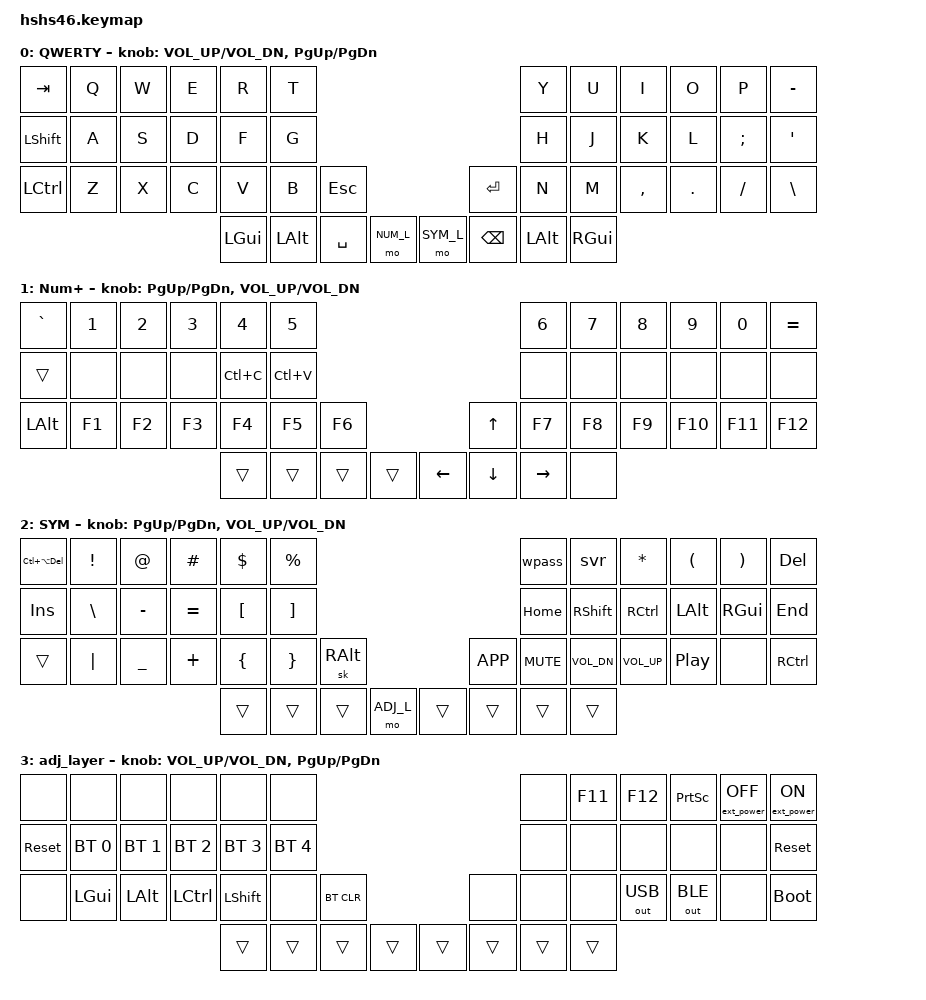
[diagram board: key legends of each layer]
/*
 * Copyright (c) 2021-2022 The ZMK Contributors
 *
 * SPDX-License-Identifier: MIT
 */

#include <behaviors.dtsi>
#include <dt-bindings/zmk/bt.h>
#include <dt-bindings/zmk/ext_power.h>
#include <dt-bindings/zmk/keys.h>
#include <dt-bindings/zmk/outputs.h>

#define QWERTY_L 0
#define NUM_L    1
#define SYM_L    2
#define ADJ_L    3

#define Undo   LC(Z)
#define Cut    LC(X)
#define Copy   LC(C)
#define Paste  LC(V)
#define Redo   LC(Y)
#define CAD    LC(LA(DEL))


/ {
    macros {
     wpass: wpass_macro {
        label = "wpass";
        compatible = "zmk,behavior-macro";
         #binding-cells = <0>;
         bindings = <
         &macro_tap
            &kp MINUS &kp LS(W) &kp A &kp N &kp D &kp N8 
            &kp MINUS &kp LS(C) &kp L &kp U &kp N &kp K &kp Y 
            &kp MINUS &kp LS(S) &kp A &kp N &kp D &kp S &kp T &kp O &kp R &kp M
            &kp RET
            >;
        };
        svr: svr_macro {
            label = "svr";
            compatible = "zmk,behavior-macro";
            #binding-cells = <0>;
            bindings = <
            &macro_tap
                &kp T &kp LS(A) &kp N0 &kp LS(N6) &kp N4 &kp K &kp T &kp LS(Y) &kp K &kp N1 &kp N1 &kp LS(L) &kp LS(N5) &kp O &kp LS(P) &kp LS(N2) &kp LS(U) &kp F
            >;
        };
    };
        keymap {
                compatible = "zmk,keymap";

                default_layer {
display-name = "QWERTY";
/* QWERTY
 * -------------------------------------------------------------------------------------------------------------------------------------
 * | TAB   |   Q   |   W   |   E   |   R   |   T   |-----------------------------------|   Y   |   U   |   I   |   O   |   P   |   -   |
 * | SHIFT |   A   |   S   |   D   |   F   |   G   |-----------------------------------|   H   |   J   |   K   |   L   |   ;   |   '   |
 * | CTRL  |   Z   |   X   |   C   |   V   |   B   |  ESC  |-------------------| ENTER |   N   |   M   |   ,   |   .   |   /   |   \   |
 *                                 |  GUI  |  ALT  | SPACE |  Num  |---|  Sym  | BKSPC |  ALT  |  GUI  |
 */
                        bindings = <
&kp  TAB    &kp  Q        &kp  W        &kp  E        &kp  R        &kp  T                                                                         &kp  Y        &kp  U        &kp  I        &kp  O        &kp  P        &kp  MINUS
&kp  LSHIFT &kp  A        &kp  S        &kp  D        &kp  F        &kp  G                                                                         &kp  H        &kp  J        &kp  K        &kp  L        &kp  SEMI     &kp  SQT
&kp  LCTRL  &kp  Z        &kp  X        &kp  C        &kp  V        &kp  B        &kp  ESC                                           &kp ENTER    &kp  N        &kp  M        &kp  COMMA    &kp  DOT      &kp  SLASH    &kp  BSLH
                                                      &kp  LGUI     &kp  LALT     &kp  SPACE    &mo  NUM_L            &mo  SYM_L    &kp  BSPC    &kp  LALT     &kp  RGUI
                        >;

                        sensor-bindings = <&inc_dec_kp C_VOL_UP C_VOL_DN &inc_dec_kp PG_UP PG_DN>;
                };

                num_layer {
display-name = "Num+";
/* NUM
 * -------------------------------------------------------------------------------------------------------------------------------------
 * | grave |  N1   |   N2   |  N3  |  N4   |    N5 |-----------------------------------|  N6   |   N7  |   N8   |  N9   |   N0   | EQUAL |
 * | SHIFT |       |        |      | Copy  | Paste |-----------------------------------|       |       |  N6    |       |        | PG DN |
 * | ALT  |  F1   |  F2   |  F3   |  F4   |  F5   |  F6   |-------------------| UP    |  F7   |  F8   |  F9    |  F10  |  F11   |  F12  |
 *                                 |       |       |      |       |---| Left  | DOWN  | Right |       |
 */
                        bindings = <
&kp GRAVE &kp N1 &kp  N2 &kp N3 &kp N4  &kp N5                                                    &kp N6  &kp N7 &kp N8 &kp N9 &kp N0 &kp EQUAL
&trans &none &none &none &kp  Copy &kp  Paste                                        &none &none &none &none   &none    &none
&kp LALT &kp  F1 &kp  F2 &kp  F3 &kp  F4 &kp  F5 &kp F6                                           &kp UP &kp F7 &kp F8 &kp F9 &kp F10 &kp F11 &kp F12
                   &trans        &trans        &trans        &trans                 &kp  LEFT    &kp  DOWN &kp  RIGHT &none
                        >;

                        sensor-bindings = <&inc_dec_kp PG_UP PG_DN &inc_dec_kp C_VOL_UP C_VOL_DN>;
                };

                sym_layer {
display-name = "SYM";
/* SYM
 * -------------------------------------------------------------------------------------------------------------------------------------
 * | CAD   |   !   |   @   |   #   |   $   |   %   |-----------------------------------| wpass | svr   |   *   |   (   |   )   | BSPC  |
 * | INS   |   \   |   -   |   =   |   [   |   ]   |-----------------------------------| HOME  | Shift | Ctrl  | Alt   | Gui   | END   |
 * | Ctrl  |   |   |   _   |   +   |   {   |   }   |SkAltGr|-------------------| MENU  | Mute  | Vol-  | Vol+  | Play  |       | Ctrl  |
 *                                 |       |       |       |  ADJ_L |---|      |       |       |       |
 */
                        bindings = <
&kp CAD       &kp  EXCL     &kp  AT       &kp  HASH     &kp  DOLLAR   &kp  PERCENT                                                                   &wpass    &svr     &kp  ASTRK    &kp  LPAR     &kp  RPAR     &kp DEL
&kp INS      &kp  BSLH     &kp  MINUS    &kp  EQUAL    &kp  LBKT     &kp  RBKT                                                                      &kp  HOME     &kp  RSHFT    &kp  RCTRL    &kp  LALT     &kp  RGUI     &kp END
&trans        &kp  PIPE     &kp  UNDER    &kp  PLUS     &kp  LBRC     &kp  RBRC     &sk  RALT                                          &kp K_APP     &kp  C_MUTE   &kp  C_VOL_DN &kp  C_VOL_UP &kp  C_PP     &none         &kp RCTRL
                                                        &trans        &trans        &trans       &mo  ADJ_L               &trans       &trans        &trans        &trans
                        >;

                        sensor-bindings = <&inc_dec_kp PG_UP PG_DN &inc_dec_kp C_VOL_UP C_VOL_DN>;
                };

                adj_layer {
/* ADJUST
 * -------------------------------------------------------------------------------------------------------------------------------------
 * |       |       |       |       |       |       |-----------------------------------|       |  F11  |  F12  |Prt Scr|EP_OFF | EP_ON |
 * | RESET | BT 0  | BT 1  | BT 2  | BT 3  | BT 4  |-----------------------------------|       |       |       |       |       | RESET |
 * |       | LGUI  | LALT  | LCTRL | LSHIFT|       |BT CLR |-------------------|       |       |       |OUT_USB|OUT_BLE|       | BOOTL |
 *                                 |       |       |       |       |---|       |       |       |       |
 */
                        bindings = <
&none       &none   &none    &none   &none   &none                                                                             &none             &kp   F11          &kp   F12  &kp PRINTSCREEN   &ext_power EP_OFF  &ext_power EP_ON
&sys_reset &bt  BT_SEL 0 &bt  BT_SEL 1 &bt  BT_SEL 2 &bt  BT_SEL 3 &bt  BT_SEL 4                                                                     &none             &none              &none            &none          &none           &sys_reset
&none    &kp  LGUI     &kp  LALT     &kp  LCTRL    &kp LSHIFT    &none         &bt BT_CLR                                         &none            &none             &none              &out  OUT_USB    &out  OUT_BLE  &none           &bootloader
                                                        &trans        &trans        &trans        &trans                 &trans        &trans           &trans            &trans
                        >;

                        sensor-bindings = <&inc_dec_kp C_VOL_UP C_VOL_DN &inc_dec_kp PG_UP PG_DN>;
                };
        };
};
